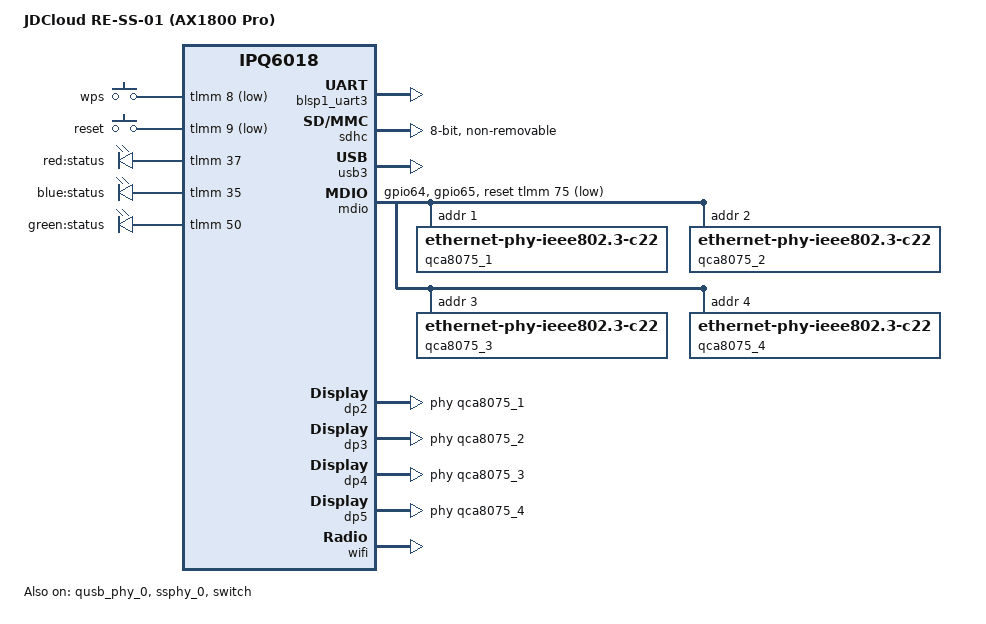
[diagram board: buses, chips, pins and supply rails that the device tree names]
// SPDX-License-Identifier: GPL-2.0-or-later OR MIT

/dts-v1/;

#include "ipq6018-512m.dtsi"
#include "ipq6018-ess.dtsi"
#include "ipq6018-nss.dtsi"

#include <dt-bindings/gpio/gpio.h>
#include <dt-bindings/input/input.h>

/ {
	model = "JDCloud RE-SS-01 (AX1800 Pro)";
	compatible = "jdcloud,re-ss-01", "qcom,ipq6018";

	aliases {
		serial0 = &blsp1_uart3;
		led-boot = &led_status_green;
		led-failsafe = &led_status_red;
		led-running = &led_status_blue;
		led-upgrade = &led_status_red;

		ethernet1 = "/soc/dp2";
		ethernet2 = "/soc/dp3";
		ethernet3 = "/soc/dp4";
		ethernet4 = "/soc/dp5";
	};

	keys {
		compatible = "gpio-keys";
		pinctrl-0 = <&button_pins>;
		pinctrl-names = "default";

		wps {
			label = "wps";
			linux,code = <KEY_WPS_BUTTON>;
			gpios = <&tlmm 8 GPIO_ACTIVE_LOW>;
		};

		reset {
			label = "reset";
			linux,code = <KEY_RESTART>;
			gpios = <&tlmm 9 GPIO_ACTIVE_LOW>;
		};
	};

	leds {
		compatible = "gpio-leds";

		led_status_red: red {
			label = "red:status";
			gpios = <&tlmm 37 GPIO_ACTIVE_HIGH>;
		};

		led_status_blue: blue {
			label = "blue:status";
			gpios = <&tlmm 35 GPIO_ACTIVE_HIGH>;
		};

		led_status_green: green {
			label = "green:status";
			gpios = <&tlmm 50 GPIO_ACTIVE_HIGH>;
		};
	};
};

&tlmm {
	gpio-reserved-ranges = <20 1>;

	button_pins: button_pins {
		mux {
			pins = "gpio8", "gpio9";
			function = "gpio";
			drive-strength = <8>;
			bias-pull-up;
		};
	};

	mdio_pins: mdio-pins {
		mdc {
			pins = "gpio64";
			function = "mdc";
			drive-strength = <8>;
			bias-pull-up;
		};

		mdio {
			pins = "gpio65";
			function = "mdio";
			drive-strength = <8>;
			bias-pull-up;
		};
	};
};

&blsp1_uart3 {
	pinctrl-0 = <&serial_3_pins>;
	pinctrl-names = "default";
	status = "okay";
};

&qusb_phy_0 {
	status = "okay";
};

&rpm {
	status = "disabled";
};

&sdhc {
	bus-width = <8>;
	mmc-ddr-1_8v;
	mmc-hs200-1_8v;
	non-removable;
	status = "okay";
};

&ssphy_0 {
	status = "okay";
};

&usb3 {
	status = "okay";
};

&mdio {
	status = "okay";

	pinctrl-0 = <&mdio_pins>;
	pinctrl-names = "default";
	reset-gpios = <&tlmm 75 GPIO_ACTIVE_LOW>;

	qca8075_1: ethernet-phy@1 {
		compatible = "ethernet-phy-ieee802.3-c22";
		reg = <1>;
	};

	qca8075_2: ethernet-phy@2 {
		compatible = "ethernet-phy-ieee802.3-c22";
		reg = <2>;
	};

	qca8075_3: ethernet-phy@3 {
		compatible = "ethernet-phy-ieee802.3-c22";
		reg = <3>;
	};

	qca8075_4: ethernet-phy@4 {
		compatible = "ethernet-phy-ieee802.3-c22";
		reg = <4>;
	};
};

&switch {
	status = "okay";

	switch_cpu_bmp = <0x1>;  /* cpu port bitmap */
	switch_lan_bmp = <0x1e>; /* lan port bitmap */
	switch_wan_bmp = <0x20>; /* wan port bitmap */
	switch_inner_bmp = <0xc0>; /*inner port bitmap*/
	switch_mac_mode = <0x0>; /* mac mode for uniphy 0*/
	switch_mac_mode1 = <0xff>; /* mac mode for uniphy 1*/
	switch_mac_mode2 = <0xff>; /* mac mode for uniphy 2*/

	qcom,port_phyinfo {
		port@2 {
			port_id = <2>;
			phy_address = <1>;
		};
		port@3 {
			port_id = <3>;
			phy_address = <2>;
		};
		port@4 {
			port_id = <4>;
			phy_address = <3>;
		};
		port@5 {
			port_id = <5>;
			phy_address = <4>;
		};
	};
};

&edma {
	status = "okay";
};

&dp2 {
	status = "okay";
	phy-handle = <&qca8075_1>;
	label = "lan1";
};

&dp3 {
	status = "okay";
	phy-handle = <&qca8075_2>;
	label = "lan2";
};

&dp4 {
	status = "okay";
	phy-handle = <&qca8075_3>;
	label = "lan3";
};

&dp5 {
	status = "okay";
	phy-handle = <&qca8075_4>;
	label = "wan";
};

&wifi {
	status = "okay";
	qcom,ath11k-calibration-variant = "JDC-AX1800-Pro";
	qcom,ath11k-fw-memory-mode = <1>;
};
